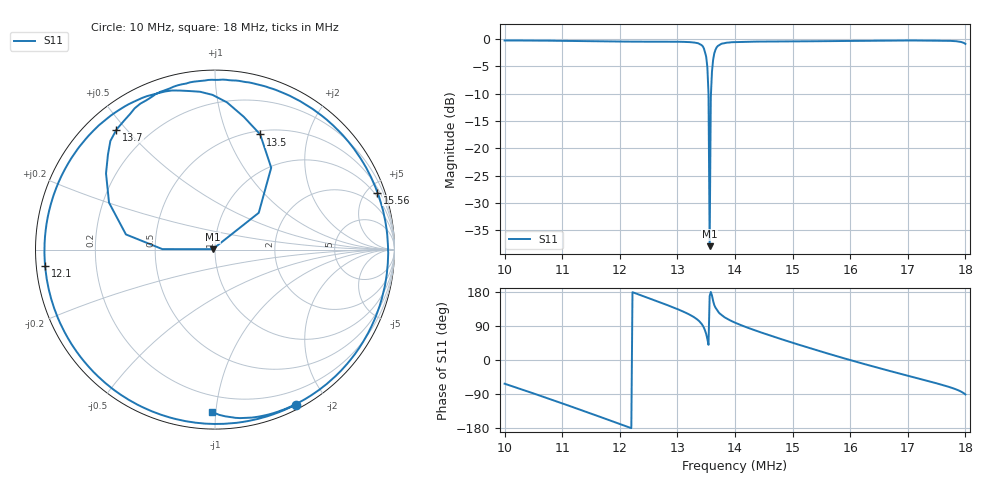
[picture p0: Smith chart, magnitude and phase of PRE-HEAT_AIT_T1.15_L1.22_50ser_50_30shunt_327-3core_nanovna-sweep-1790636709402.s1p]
! NanoVNA Web complex sweep
! Processing: original sample grid, no browser smoothing
# Hz S RI R 50
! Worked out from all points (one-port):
!   401 points, 10 MHz to 18 MHz, reference 50 ohm
!   lowest |S11| = -37.9 dB at 13.56 MHz (marker M1), VSWR 1.03, Z = 48.8 + j0.241 ohm
!   |S11| at or under -10 dB: 13.54004 MHz to 13.58281 MHz (42.76 kHz wide, 0.315 % of centre)
!   S11 on the Smith chart (normalised r, x): 10 MHz: 0.05, -1.65; 12.1 MHz: 0.03, -0.05; 13.5 MHz: 0.54, +1.32; 13.7 MHz: 0.09, +0.47; 15.56 MHz: 0.72, +5.77; 18 MHz: 0.10, -0.98
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1e7  0.4488 -0.8642
1.052e7  0.0143 -0.9715
1.1e7  -0.4002 -0.8796
1.154e7  -0.7711 -0.5684
1.2e7  -0.9341 -0.1842
1.21e7  -0.9463 -0.0933
1.256e7  -0.8918 0.3242
1.3e7  -0.6623 0.6776
1.324e7  -0.4312 0.8332
1.34e7  -0.1388 0.8832
1.346e7  0.0668 0.8202
1.35e7  0.2517 0.6419
1.352e7  0.3131 0.4563
1.356e7  -0.0125 0.00247
1.36e7  -0.4963 0.0845
1.362e7  -0.5904 0.2615
1.366e7  -0.5964 0.5296
1.37e7  -0.5488 0.6691
1.382e7  -0.3536 0.85
1.4e7  -0.1403 0.9316
1.446e7  0.2889 0.9065
1.5e7  0.6695 0.6809
1.556e7  0.9051 0.318
1.6e7  0.9638 -0.00135
1.648e7  0.9085 -0.3389
1.7e7  0.7292 -0.6449
1.766e7  0.3562 -0.9011
1.8e7  -0.0146 -0.9053
